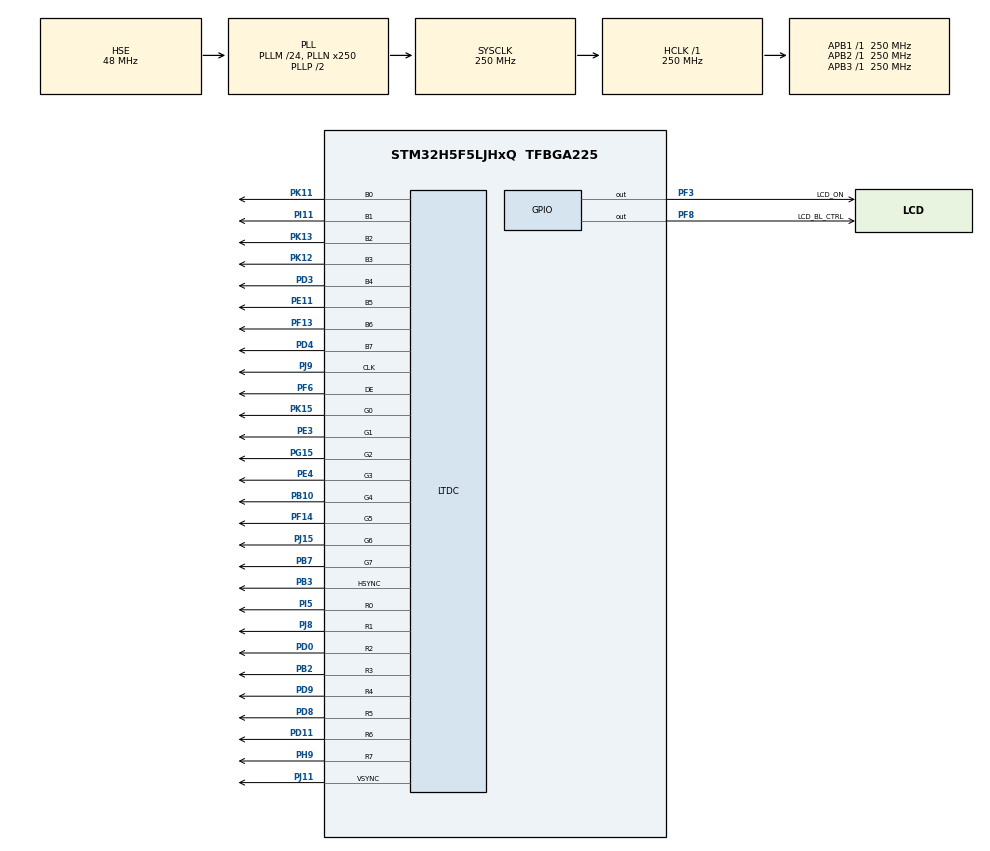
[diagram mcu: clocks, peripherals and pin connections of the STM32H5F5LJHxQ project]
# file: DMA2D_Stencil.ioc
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BOOTPATH.BootPathName=LEGACY
BOOTPATH.UserSelectedBootPath=LEGACY
CORTEX_M33_NS.userName=CORTEX_M33
DMA2D.AlphaModeBackground=DMA2D_REPLACE_ALPHA
DMA2D.AlphaModeForeground=DMA2D_REPLACE_ALPHA
DMA2D.ColorMode=DMA2D_OUTPUT_ARGB4444
DMA2D.InputAlphaBackground=255
DMA2D.InputAlphaForeground=255
DMA2D.InputColorModeBackground=DMA2D_INPUT_ARGB4444
DMA2D.InputColorModeForeground=DMA2D_INPUT_ARGB4444
DMA2D.LineOffsetMode=DMA2D_LOM_BYTES
DMA2D.Mode=DMA2D_M2M_BLEND
LTDC.ActiveH=ST1633I_VSYNC + ST1633I_HEIGHT + ST1633I_VBP -1U
LTDC.ActiveW=ST1633I_HSYNC + ST1633I_WIDTH + ST1633I_HBP -1U
LTDC.Alpha_L0=255
LTDC.BlendingFactor1_L0=LTDC_BLENDING_FACTOR1_PAxCA
LTDC.BlendingFactor2_L0=LTDC_BLENDING_FACTOR2_PAxCA
LTDC.FBStartAdress_L0=LCD_FRAME_BUFFER
LTDC.HBP=ST1633I_HSYNC + ST1633I_HBP - 1U
LTDC.HFP=ST1633I_HSYNC + ST1633I_WIDTH + ST1633I_HBP + ST1633I_HFP - 1U
LTDC.HSync=ST1633I_HSYNC - 1U
LTDC.ImageHeight_L0=ST_LOGO_IMAGE_HEIGHT
LTDC.ImageWidth_L0=ST_LOGO_IMAGE_WIDTH
LTDC.Layers=0
LTDC.PixelFormat_L0=LTDC_PIXEL_FORMAT_ARGB4444
LTDC.VBP=ST1633I_VSYNC + ST1633I_VBP - 1U
LTDC.VFP=ST1633I_VSYNC + ST1633I_HEIGHT + ST1633I_VBP + ST1633I_VFP - 1U
LTDC.VSync=ST1633I_VSYNC - 1U
LTDC.WindowX1_L0=ST1633I_WIDTH
LTDC.WindowY1_L0=ST1633I_HEIGHT
Mcu.Family=STM32H5
Mcu.Name=STM32H5F5LJHxQ
Mcu.Package=TFBGA225
Mcu.UserConstants=ST1633I_WIDTH,480;ST1633I_HEIGHT,272;ST1633I_HSYNC,4;ST1633I_HBP,43;ST1633I_HFP,0;ST1633I_VSYNC,4;ST1633I_VBP,7;ST1633I_VFP,8;LCD_FRAME_BUFFER,0x20010000;FRAME_BUFFER_SIZE,(ST_LOGO_IMAGE_WIDTH*ST_LOGO_IMAGE_HEIGHT*ST_LOGO_IMAGE_BPP)/32
NVIC.PriorityGroup=NVIC_PRIORITYGROUP_4
PB10.Mode=RGB888
PB10.Signal=LTDC_G4
PB2.Mode=RGB888
PB2.Signal=LTDC_R3
PB3\ (JTDO/TRACESWO).Mode=RGB888
PB3\ (JTDO/TRACESWO).Signal=LTDC_HSYNC
PB7.Mode=RGB888
PB7.Signal=LTDC_G7
PD0.Mode=RGB888
PD0.Signal=LTDC_R2
PD11.Mode=RGB888
PD11.Signal=LTDC_R6
PD3.Mode=RGB888
PD3.Signal=LTDC_B4
PD4.Mode=RGB888
PD4.Signal=LTDC_B7
PD8.Mode=RGB888
PD8.Signal=LTDC_R5
PD9.Mode=RGB888
PD9.Signal=LTDC_R4
PE11.Mode=RGB888
PE11.Signal=LTDC_B5
PE3.Mode=RGB888
PE3.Signal=LTDC_G1
PE4.Mode=RGB888
PE4.Signal=LTDC_G3
PF13.Mode=RGB888
PF13.Signal=LTDC_B6
PF14.Mode=RGB888
PF14.Signal=LTDC_G5
PF3.GPIO_Label=LCD_ON
PF3.PinState=GPIO_PIN_SET
PF3.Signal=GPIO_Output
PF6.Mode=RGB888
PF6.Signal=LTDC_DE
PF8.GPIO_Label=LCD_BL_CTRL
PF8.PinState=GPIO_PIN_SET
PF8.Signal=GPIO_Output
PG15.Mode=RGB888
PG15.Signal=LTDC_G2
PH0-OSC_IN(PH0).Mode=HSE-External-Oscillator
PH0-OSC_IN(PH0).Signal=RCC_OSC_IN
PH1-OSC_OUT(PH1).Mode=HSE-External-Oscillator
PH1-OSC_OUT(PH1).Signal=RCC_OSC_OUT
PH9.Mode=RGB888
PH9.Signal=LTDC_R7
PI11.Mode=RGB888
PI11.Signal=LTDC_B1
PI5.Mode=RGB888
PI5.Signal=LTDC_R0
PJ11.Mode=RGB888
PJ11.Signal=LTDC_VSYNC
PJ15.Mode=RGB888
PJ15.Signal=LTDC_G6
PJ8.Mode=RGB888
PJ8.Signal=LTDC_R1
PJ9.Mode=RGB888
PJ9.Signal=LTDC_CLK
PK11.Mode=RGB888
PK11.Signal=LTDC_B0
PK12.Mode=RGB888
PK12.Signal=LTDC_B3
PK13.Mode=RGB888
PK13.Signal=LTDC_B2
PK15.Mode=RGB888
PK15.Signal=LTDC_G0
ProjectManager.HeapSize=0x200
ProjectManager.StackSize=0x1000
ProjectManager.TargetToolchain=EWARM V9.20
RCC.ADCFreq_Value=250000000
RCC.AHBFreq_Value=250000000
RCC.APB1Freq_Value=250000000
RCC.APB1TimFreq_Value=250000000
RCC.APB2Freq_Value=250000000
RCC.APB2TimFreq_Value=250000000
RCC.APB3Freq_Value=250000000
RCC.CSI_VALUE=4000000
RCC.CortexFreq_Value=250000000
RCC.EPOD_VALUE=48000000
RCC.HCLKFreq_Value=250000000
RCC.HSE_VALUE=48000000
RCC.HSI48_VALUE=48000000
RCC.HSI_VALUE=64000000
RCC.LSE_VALUE=32768
RCC.LSIRC_VALUE=32000
RCC.PLL2FRACN=0
RCC.PLL2M=40
RCC.PLL2R=16
RCC.PLL2Source=RCC_PLL2_SOURCE_HSE
RCC.PLL3M=4
RCC.PLL3R=16
RCC.PLL3Source=RCC_PLL3_SOURCE_HSE
RCC.PLLFRACN=0
RCC.PLLM=24
RCC.PLLN=250
RCC.PLLSourceVirtual=RCC_PLL1_SOURCE_HSE
RCC.SYSCLKFreq_VALUE=250000000
RCC.SYSCLKSource=RCC_SYSCLKSOURCE_PLLCLK
RCC.USBFreq_Value=774000000
RCC.VCOOutputFreq_Value=500000000
VP_BOOTPATH_VS_BOOTPATH.Mode=BP_Activate
VP_CORTEX_M33_NS_VS_Hclk.Mode=Hclk_Mode
VP_DMA2D_VS_DMA2D.Mode=DMA2D_Activate
VP_ICACHE_VS_ICACHE.Mode=DefaultMode
VP_PWR_VS_LPOM.Mode=PowerOptimisation
VP_PWR_VS_SECSignals.Mode=Security/Privilege
board=custom

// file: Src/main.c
/* USER CODE BEGIN Header */
/**
  ******************************************************************************
  * @file           : main.c
  * @brief          : Main program body
  ******************************************************************************
  * @attention
  *
  * Copyright (c) 2025 STMicroelectronics.
  * All rights reserved.
  *
  * This software is licensed under terms that can be found in the LICENSE file
  * in the root directory of this software component.
  * If no LICENSE file comes with this software, it is provided AS-IS.
  *
  ******************************************************************************
  */
/* USER CODE END Header */
#include "main.h"

DMA2D_HandleTypeDef hdma2d;

LTDC_HandleTypeDef hltdc;

/* USER CODE BEGIN PV */
DMA2D_StencilCfgTypeDef pStencilCfg;
const uint32_t backgrounds[2] = {(uint32_t)Background_wood, (uint32_t)Background_Blue};
/* USER CODE END PV */

void SystemClock_Config(void);
static void MX_GPIO_Init(void);
static void MX_DMA2D_Init(void);
static void MX_ICACHE_Init(void);
static void MX_LTDC_Init(void);

int main(void)
{

  /* MCU Configuration--------------------------------------------------------*/

  /* Reset of all peripherals, Initializes the Flash interface and the Systick. */
  HAL_Init();

  /* Configure the system clock */
  SystemClock_Config();

  /* Initialize all configured peripherals */
  MX_GPIO_Init();
  MX_DMA2D_Init();
  MX_ICACHE_Init();
  MX_LTDC_Init();
  /* USER CODE BEGIN 2 */
  pStencilCfg.Mode          =  DMA2D_STENCIL_MODE_A8;
  pStencilCfg.AlphaInverted =  DMA2D_REGULAR_ALPHA;
  pStencilCfg.Address       =  (uint32_t)ST_text_stencil;
  pStencilCfg.LineOffset    = 0;
  pStencilCfg.HPre          = 0;
  pStencilCfg.HTrail        = 0;

  /* Apply Stencil Buffer to the foreground layer */
  HAL_DMA2D_ConfigStencil(&hdma2d, DMA2D_SOURCE_FOREGROUND, &pStencilCfg);
  /* USER CODE END 2 */

  /* Infinite loop */
  /* USER CODE BEGIN WHILE */
  while (1)
  {
    /* Blending each time the Foreground & stencil buffer with the foreground */
    for (uint32_t i = 0; i < 2; i++)
    {
      if(HAL_DMA2D_BlendingStart(&hdma2d, backgrounds[i], (uint32_t)ST_Logo, LCD_FRAME_BUFFER, ST_LOGO_IMAGE_WIDTH, ST_LOGO_IMAGE_HEIGHT) != HAL_OK)
      {
        Error_Handler();
      }

      if(HAL_DMA2D_PollForTransfer(&hdma2d, 1000) != HAL_OK)
      {
        Error_Handler();
      }

      /* Wait a while before next image display */
      HAL_Delay(1000);
    }
    /* USER CODE END WHILE */

  }
}

void SystemClock_Config(void)
{
  RCC_OscInitTypeDef RCC_OscInitStruct = {0};
  RCC_ClkInitTypeDef RCC_ClkInitStruct = {0};

  /** Configure the main internal regulator output voltage
  */
  __HAL_PWR_VOLTAGESCALING_CONFIG(PWR_REGULATOR_VOLTAGE_SCALE0);

  while(!__HAL_PWR_GET_FLAG(PWR_FLAG_VOSRDY)) {}

  /** Initializes the RCC Oscillators according to the specified parameters
  * in the RCC_OscInitTypeDef structure.
  */
  RCC_OscInitStruct.OscillatorType = RCC_OSCILLATORTYPE_HSE;
  RCC_OscInitStruct.HSEState = RCC_HSE_ON;
  RCC_OscInitStruct.PLL.PLLState = RCC_PLL_ON;
  RCC_OscInitStruct.PLL.PLLSource = RCC_PLL1_SOURCE_HSE;
  RCC_OscInitStruct.PLL.PLLM = 24;
  RCC_OscInitStruct.PLL.PLLN = 250;
  RCC_OscInitStruct.PLL.PLLP = 2;
  RCC_OscInitStruct.PLL.PLLQ = 2;
  RCC_OscInitStruct.PLL.PLLR = 2;
  RCC_OscInitStruct.PLL.PLLRGE = RCC_PLL1_VCIRANGE_1;
  RCC_OscInitStruct.PLL.PLLVCOSEL = RCC_PLL1_VCORANGE_WIDE;
  RCC_OscInitStruct.PLL.PLLFRACN = 0;
  if (HAL_RCC_OscConfig(&RCC_OscInitStruct) != HAL_OK)
  {
    Error_Handler();
  }

  /** Initializes the CPU, AHB and APB buses clocks
  */
  RCC_ClkInitStruct.ClockType = RCC_CLOCKTYPE_HCLK|RCC_CLOCKTYPE_SYSCLK
                              |RCC_CLOCKTYPE_PCLK1|RCC_CLOCKTYPE_PCLK2
                              |RCC_CLOCKTYPE_PCLK3;
  RCC_ClkInitStruct.SYSCLKSource = RCC_SYSCLKSOURCE_PLLCLK;
  RCC_ClkInitStruct.AHBCLKDivider = RCC_SYSCLK_DIV1;
  RCC_ClkInitStruct.APB1CLKDivider = RCC_HCLK_DIV1;
  RCC_ClkInitStruct.APB2CLKDivider = RCC_HCLK_DIV1;
  RCC_ClkInitStruct.APB3CLKDivider = RCC_HCLK_DIV1;

  if (HAL_RCC_ClockConfig(&RCC_ClkInitStruct, FLASH_LATENCY_5) != HAL_OK)
  {
    Error_Handler();
  }

  /** Configure the programming delay
  */
  __HAL_FLASH_SET_PROGRAM_DELAY(FLASH_PROGRAMMING_DELAY_2);
}

static void MX_DMA2D_Init(void)
{

  hdma2d.Instance = DMA2D;
  hdma2d.Init.Mode = DMA2D_M2M_BLEND;
  hdma2d.Init.ColorMode = DMA2D_OUTPUT_ARGB4444;
  hdma2d.Init.OutputOffset = 0;
  hdma2d.Init.BytesSwap = DMA2D_BYTES_REGULAR;
  hdma2d.Init.LineOffsetMode = DMA2D_LOM_BYTES;
  hdma2d.LayerCfg[1].InputOffset = 0;
  hdma2d.LayerCfg[1].InputColorMode = DMA2D_INPUT_ARGB4444;
  hdma2d.LayerCfg[1].AlphaMode = DMA2D_REPLACE_ALPHA;
  hdma2d.LayerCfg[1].InputAlpha = 255;
  hdma2d.LayerCfg[1].AlphaInverted = DMA2D_REGULAR_ALPHA;
  hdma2d.LayerCfg[1].RedBlueSwap = DMA2D_RB_REGULAR;
  hdma2d.LayerCfg[1].ChromaSubSampling = DMA2D_NO_CSS;
  hdma2d.LayerCfg[0].InputOffset = 0;
  hdma2d.LayerCfg[0].InputColorMode = DMA2D_INPUT_ARGB4444;
  hdma2d.LayerCfg[0].AlphaMode = DMA2D_REPLACE_ALPHA;
  hdma2d.LayerCfg[0].InputAlpha = 255;
  hdma2d.LayerCfg[0].AlphaInverted = DMA2D_REGULAR_ALPHA;
  hdma2d.LayerCfg[0].RedBlueSwap = DMA2D_RB_REGULAR;
  if (HAL_DMA2D_Init(&hdma2d) != HAL_OK)
  {
    Error_Handler();
  }
  if (HAL_DMA2D_ConfigLayer(&hdma2d, 0) != HAL_OK)
  {
    Error_Handler();
  }
  if (HAL_DMA2D_ConfigLayer(&hdma2d, 1) != HAL_OK)
  {
    Error_Handler();
  }

}

static void MX_ICACHE_Init(void)
{

  /** Enable instruction cache (default 2-ways set associative cache)
  */
  if (HAL_ICACHE_Enable() != HAL_OK)
  {
    Error_Handler();
  }

}

static void MX_LTDC_Init(void)
{

  LTDC_LayerCfgTypeDef pLayerCfg = {0};

  hltdc.Instance = LTDC;
  hltdc.Init.HSPolarity = LTDC_HSPOLARITY_AL;
  hltdc.Init.VSPolarity = LTDC_VSPOLARITY_AL;
  hltdc.Init.DEPolarity = LTDC_DEPOLARITY_AL;
  hltdc.Init.PCPolarity = LTDC_PCPOLARITY_IPC;
  hltdc.Init.HorizontalSync = ST1633I_HSYNC - 1U;
  hltdc.Init.VerticalSync = ST1633I_VSYNC - 1U;
  hltdc.Init.AccumulatedHBP = ST1633I_HSYNC + ST1633I_HBP - 1U;
  hltdc.Init.AccumulatedVBP = ST1633I_VSYNC + ST1633I_VBP - 1U;
  hltdc.Init.AccumulatedActiveW = ST1633I_HSYNC + ST1633I_WIDTH + ST1633I_HBP -1U;
  hltdc.Init.AccumulatedActiveH = ST1633I_VSYNC + ST1633I_HEIGHT + ST1633I_VBP -1U;
  hltdc.Init.TotalWidth = ST1633I_HSYNC + ST1633I_WIDTH + ST1633I_HBP + ST1633I_HFP - 1U;
  hltdc.Init.TotalHeigh = ST1633I_VSYNC + ST1633I_HEIGHT + ST1633I_VBP + ST1633I_VFP - 1U;
  hltdc.Init.Backcolor.Blue = 0;
  hltdc.Init.Backcolor.Green = 0;
  hltdc.Init.Backcolor.Red = 0;
  if (HAL_LTDC_Init(&hltdc) != HAL_OK)
  {
    Error_Handler();
  }
  pLayerCfg.WindowX0 = 0;
  pLayerCfg.WindowX1 = ST1633I_WIDTH;
  pLayerCfg.WindowY0 = 0;
  pLayerCfg.WindowY1 = ST1633I_HEIGHT;
  pLayerCfg.PixelFormat = LTDC_PIXEL_FORMAT_ARGB4444;
  pLayerCfg.Alpha = 255;
  pLayerCfg.Alpha0 = 0;
  pLayerCfg.BlendingFactor1 = LTDC_BLENDING_FACTOR1_PAxCA;
  pLayerCfg.BlendingFactor2 = LTDC_BLENDING_FACTOR2_PAxCA;
  pLayerCfg.FBStartAdress = LCD_FRAME_BUFFER;
  pLayerCfg.ImageWidth = ST_LOGO_IMAGE_WIDTH;
  pLayerCfg.ImageHeight = ST_LOGO_IMAGE_HEIGHT;
  pLayerCfg.Backcolor.Blue = 0;
  pLayerCfg.Backcolor.Green = 0;
  pLayerCfg.Backcolor.Red = 0;
  if (HAL_LTDC_ConfigLayer(&hltdc, &pLayerCfg, 0) != HAL_OK)
  {
    Error_Handler();
  }

}

static void MX_GPIO_Init(void)
{
  GPIO_InitTypeDef GPIO_InitStruct = {0};

  /* GPIO Ports Clock Enable */
  __HAL_RCC_GPIOF_CLK_ENABLE();
  __HAL_RCC_GPIOH_CLK_ENABLE();

  /*Configure GPIO pin Output Level */
  HAL_GPIO_WritePin(GPIOF, LCD_BL_CTRL_Pin|LCD_ON_Pin, GPIO_PIN_SET);

  /*Configure GPIO pins : LCD_BL_CTRL_Pin LCD_ON_Pin */
  GPIO_InitStruct.Pin = LCD_BL_CTRL_Pin|LCD_ON_Pin;
  GPIO_InitStruct.Mode = GPIO_MODE_OUTPUT_PP;
  GPIO_InitStruct.Pull = GPIO_NOPULL;
  GPIO_InitStruct.Speed = GPIO_SPEED_FREQ_LOW;
  HAL_GPIO_Init(GPIOF, &GPIO_InitStruct);

}

void Error_Handler(void)
{
  __disable_irq();
  while (1)
  {
  }
}
